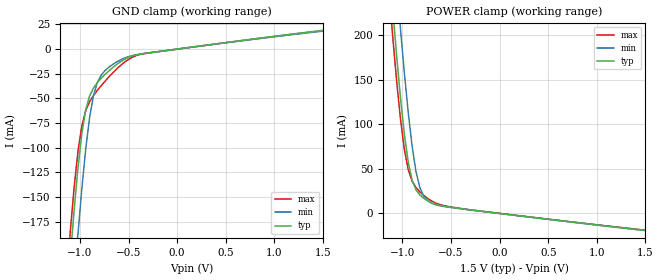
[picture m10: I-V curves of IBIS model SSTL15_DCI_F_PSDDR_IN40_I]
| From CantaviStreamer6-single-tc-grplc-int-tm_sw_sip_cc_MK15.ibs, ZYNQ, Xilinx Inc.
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[Model]  SSTL15_DCI_F_PSDDR_IN40_I
Model_type Input
Polarity   Non-Inverting
Vinl =   0.6500V
Vinh =   0.8500V
C_comp   2.69pf   2.69pf  2.70pf
[Temperature Range]   25.0000   85.0000   0.0
[Voltage Range]   1.5000V   1.4250V   1.5750V
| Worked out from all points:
|   GND clamp passes 1 mA (typ) near -0.07 V on its own axis
|   POWER clamp passes 1 mA (typ) near -0.08 V on its own axis
[GND_clamp]
|Voltage   I(typ)   I(min)   I(max)
-1.5V     -784.1mA   -857.4mA   -755.9mA
-1.1V     -213.1mA   -290.8mA   -186.2mA
-1.06V    -164.1mA   -237.9mA   -141mA
-1.02V    -120.7mA   -187.8mA   -103.8mA
-980mV    -85.66mA   -141.7mA   -77.79mA
-940mV    -61.56mA   -101.4mA   -62.31mA
-900mV    -47.5mA    -69.18mA   -53.25mA
-860mV    -39.43mA   -46.96mA   -47.01mA
-780mV    -29.55mA   -26.31mA   -36.98mA
-660mV    -18.52mA   -15.39mA   -23.88mA
-340mV    -4.569mA   -4.46mA    -4.582mA
1.5V      19mA       18.22mA    18.72mA
[POWER_clamp]
|Voltage   I(typ)   I(min)   I(max)
-1.5V     825.7mA    912.2mA    792mA
-1.14V    284.7mA    371.2mA    252.5mA
-1.1V     230mA      314.8mA    199.1mA
-1.06V    178mA      260mA      149.6mA
-1.02V    130.2mA    207.5mA    106.2mA
-980mV    88.99mA    158.1mA    71.89mA
-940mV    57.35mA    113.4mA    49.18mA
-900mV    37.25mA    75.53mA    36.37mA
-860mV    26.49mA    46.92mA    29.12mA
-780mV    16.99mA    19.11mA    20.21mA
-420mV    5.7mA      5.553mA    5.824mA
1.5V      -19.29mA   -18.97mA   -18.84mA
